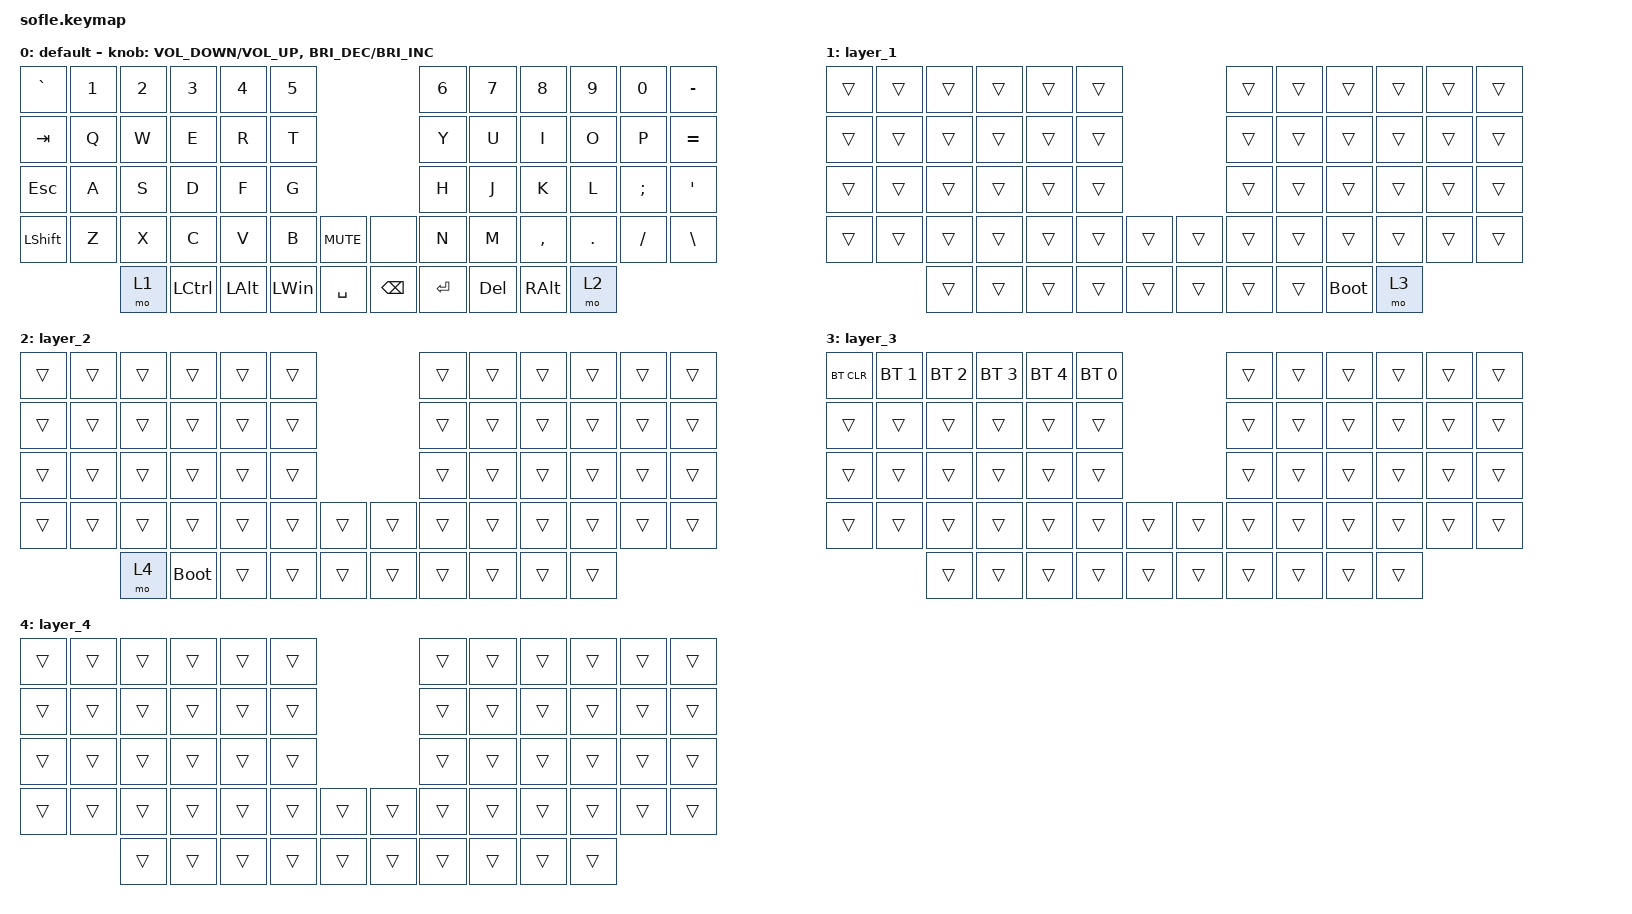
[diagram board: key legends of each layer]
/*
 * Copyright (c) 2020 The ZMK Contributors
 *
 * SPDX-License-Identifier: MIT
 */

#include <behaviors.dtsi>
#include <dt-bindings/zmk/bt.h>
#include <dt-bindings/zmk/keys.h>

#define BASE 0
#define LOWER 1
#define RAISE 2
#define ADJUST 3

/ {
    // Activate ADJUST layer by pressing raise and lower

    conditional_layers { compatible = "zmk,conditional-layers"; };

    keymap {
        compatible = "zmk,keymap";

        default_layer {
            label = "default";

            // ------------------------------------------------------------------------------------------------------------
            // |   `   |  1  |  2  |  3   |  4   |  5   |                   |  6   |  7    |  8    |  9   |   0   |       |
            // |  ESC  |  Q  |  W  |  E   |  R   |  T   |                   |  Y   |  U    |  I    |  O   |   P   | BKSPC |
            // |  TAB  |  A  |  S  |  D   |  F   |  G   |                   |  H   |  J    |  K    |  L   |   ;   |   '   |
            // | SHIFT |  Z  |  X  |  C   |  V   |  B   |  MUTE  |  |       |  N   |  M    |  ,    |  .   |   /   | SHIFT |
            //               | GUI | ALT  | CTRL | LOWER|  ENTER |  | SPACE | RAISE| CTRL  | ALT   | GUI  |

            bindings = <
&kp GRAVE   &kp N1  &kp N2  &kp N3            &kp N4    &kp N5                                 &kp N6     &kp N7   &kp N8     &kp N9   &kp N0    &kp MINUS
&kp TAB     &kp Q   &kp W   &kp E             &kp R     &kp T                                  &kp Y      &kp U    &kp I      &kp O    &kp P     &kp EQUAL
&kp ESCAPE  &kp A   &kp S   &kp D             &kp F     &kp G                                  &kp H      &kp J    &kp K      &kp L    &kp SEMI  &kp SQT
&kp LSHFT   &kp Z   &kp X   &kp C             &kp V     &kp B     &kp C_MUTE    &none          &kp N      &kp M    &kp COMMA  &kp DOT  &kp FSLH  &kp BACKSLASH
                    &mo 1   &kp LEFT_CONTROL  &kp LALT  &kp LWIN  &kp SPACE     &kp BACKSPACE  &kp ENTER  &kp DEL  &kp RALT   &mo 2
            >;

            sensor-bindings =
                <&inc_dec_kp C_VOLUME_DOWN C_VOLUME_UP>,
                <&inc_dec_kp C_BRIGHTNESS_DEC C_BRIGHTNESS_INC>;
        };

        layer_1 {
            bindings = <
&trans  &trans  &trans  &trans  &trans  &trans                    &trans  &trans  &trans       &trans  &trans  &trans
&trans  &trans  &trans  &trans  &trans  &trans                    &trans  &trans  &trans       &trans  &trans  &trans
&trans  &trans  &trans  &trans  &trans  &trans                    &trans  &trans  &trans       &trans  &trans  &trans
&trans  &trans  &trans  &trans  &trans  &trans  &trans    &trans  &trans  &trans  &trans       &trans  &trans  &trans
                &trans  &trans  &trans  &trans  &trans    &trans  &trans  &trans  &bootloader  &mo 3
            >;
        };

        layer_2 {
            bindings = <
&trans  &trans  &trans  &trans       &trans  &trans                    &trans  &trans  &trans  &trans  &trans  &trans
&trans  &trans  &trans  &trans       &trans  &trans                    &trans  &trans  &trans  &trans  &trans  &trans
&trans  &trans  &trans  &trans       &trans  &trans                    &trans  &trans  &trans  &trans  &trans  &trans
&trans  &trans  &trans  &trans       &trans  &trans  &trans    &trans  &trans  &trans  &trans  &trans  &trans  &trans
                &mo 4   &bootloader  &trans  &trans  &trans    &trans  &trans  &trans  &trans  &trans
            >;
        };

        layer_3 {
            bindings = <
&bt BT_CLR  &bt BT_SEL 1  &bt BT_SEL 2  &bt BT_SEL 3  &bt BT_SEL 4  &bt BT_SEL 0                    &trans  &trans  &trans  &trans  &trans  &trans
&trans      &trans        &trans        &trans        &trans        &trans                          &trans  &trans  &trans  &trans  &trans  &trans
&trans      &trans        &trans        &trans        &trans        &trans                          &trans  &trans  &trans  &trans  &trans  &trans
&trans      &trans        &trans        &trans        &trans        &trans        &trans    &trans  &trans  &trans  &trans  &trans  &trans  &trans
                          &trans        &trans        &trans        &trans        &trans    &trans  &trans  &trans  &trans  &trans
            >;
        };

        layer_4 {
            bindings = <
&trans  &trans  &trans  &trans  &trans  &trans                    &trans  &trans  &trans  &trans  &trans  &trans
&trans  &trans  &trans  &trans  &trans  &trans                    &trans  &trans  &trans  &trans  &trans  &trans
&trans  &trans  &trans  &trans  &trans  &trans                    &trans  &trans  &trans  &trans  &trans  &trans
&trans  &trans  &trans  &trans  &trans  &trans  &trans    &trans  &trans  &trans  &trans  &trans  &trans  &trans
                &trans  &trans  &trans  &trans  &trans    &trans  &trans  &trans  &trans  &trans
            >;
        };
    };
};
